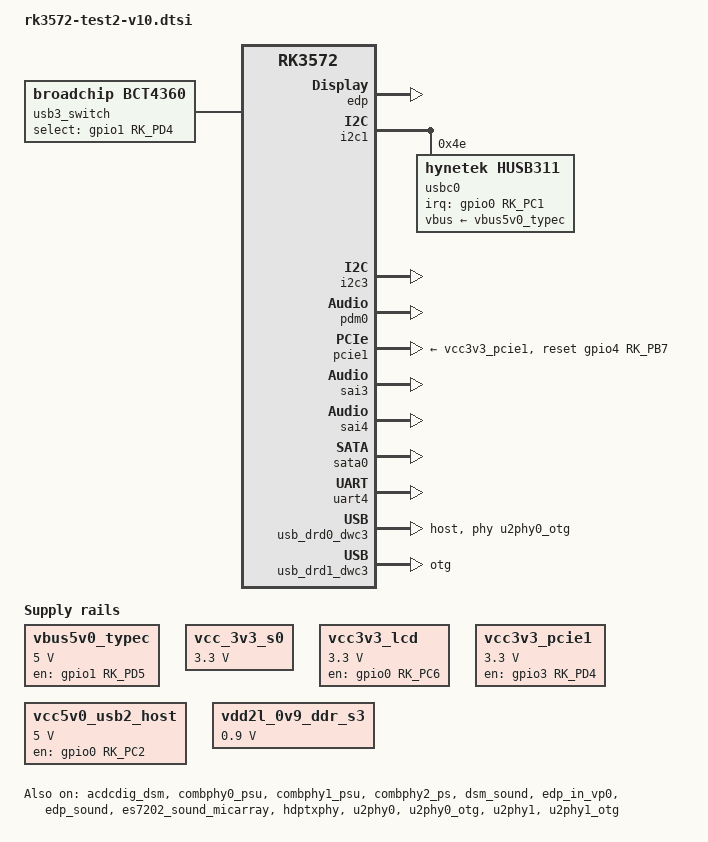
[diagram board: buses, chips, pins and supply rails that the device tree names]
// SPDX-License-Identifier: (GPL-2.0+ OR MIT)
/*
 * Copyright (c) 2025 Rockchip Electronics Co., Ltd.
 */

#include <dt-bindings/usb/pd.h>
#include "rk3572.dtsi"
#include "rk3572-evb.dtsi"
#include "rk3572-rk806.dtsi"

/ {
	usb3_switch: usb3-switch {
		compatible = "broadchip,bct4360", "gpio-sbu-mux";
		select-gpios = <&gpio1 RK_PD4 GPIO_ACTIVE_HIGH>;
		pinctrl-names = "default";
		pinctrl-0 = <&usb3_switch_default>;
		orientation-switch;
	};

	vbus5v0_typec: vbus5v0-typec {
		compatible = "regulator-fixed";
		regulator-name = "vbus5v0_typec";
		regulator-min-microvolt = <5000000>;
		regulator-max-microvolt = <5000000>;
		enable-active-high;
		gpio = <&gpio1 RK_PD5 GPIO_ACTIVE_HIGH>;
		pinctrl-names = "default";
		pinctrl-0 = <&usb_drd1_pwren>;
	};

	vcc_3v3_s0: vcc-3v3-s0 {
		compatible = "regulator-fixed";
		regulator-name = "vcc_3v3_s0";
		regulator-boot-on;
		regulator-always-on;
		regulator-min-microvolt = <3300000>;
		regulator-max-microvolt = <3300000>;
	};

	vcc3v3_lcd: vcc3v3-lcd {
		compatible = "regulator-fixed";
		regulator-name = "vcc3v3_lcd";
		regulator-boot-on;
		enable-active-high;
		regulator-min-microvolt = <3300000>;
		regulator-max-microvolt = <3300000>;
		gpio = <&gpio0 RK_PC6 GPIO_ACTIVE_HIGH>;
	};

	vcc3v3_pcie1: vcc3v3-pcie1 {
		compatible = "regulator-fixed";
		regulator-name = "vcc3v3_pcie0";
		enable-active-high;
		regulator-min-microvolt = <3300000>;
		regulator-max-microvolt = <3300000>;
		gpio = <&gpio3 RK_PD4 GPIO_ACTIVE_HIGH>;
	};

	vcc5v0_usb2_host: vcc5v0-usb2-host {
		compatible = "regulator-fixed";
		regulator-name = "vcc5v0_usb2_host";
		regulator-boot-on;
		regulator-always-on;
		regulator-min-microvolt = <5000000>;
		regulator-max-microvolt = <5000000>;
		enable-active-high;
		gpio = <&gpio0 RK_PC2 GPIO_ACTIVE_HIGH>;
		pinctrl-names = "default";
		pinctrl-0 = <&usb_drd0_pwren>;
	};

	vdd2l_0v9_ddr_s3: vdd2l-0v9-ddr-s3 {
		compatible = "regulator-fixed";
		regulator-name = "vdd2l_0v9_ddr_s3";
		regulator-boot-on;
		regulator-always-on;
		regulator-min-microvolt = <900000>;
		regulator-max-microvolt = <900000>;
	};
};

&acdcdig_dsm {
	status = "okay";
};

&combphy0_psu {
	rockchip,dis-u3otg0-port;
	status = "okay";
};

&combphy1_psu {
	status = "okay";
};

&combphy2_ps {
	status = "okay";
};

&dsm_sound {
	status = "okay";
};

&edp {
	status = "okay";
	pinctrl-names = "default";
	pinctrl-0 = <&edp_txm1_pins>;
};

&edp_in_vp0 {
	status = "okay";
};

&edp_sound {
	status = "okay";
};

&es7202_sound_micarray {
	status = "okay";
};

&hdptxphy {
	status = "okay";
};

&i2c1 {
	status = "okay";
	pinctrl-names = "default";
	pinctrl-0 = <&i2c1m1_xfer_pins>;

	usbc0: husb311@4e {
		compatible = "hynetek,husb311";
		reg = <0x4e>;
		interrupt-parent = <&gpio0>;
		interrupts = <RK_PC1 IRQ_TYPE_LEVEL_LOW>;
		pinctrl-names = "default";
		pinctrl-0 = <&usbc0_int>;
		vbus-supply = <&vbus5v0_typec>;
		status = "okay";

		usb_con0: connector {
			compatible = "usb-c-connector";
			label = "USB-C";
			data-role = "dual";
			power-role = "dual";
			try-power-role = "sink";
			op-sink-microwatt = <1000000>;
			orientation-switch = <&usb3_switch &u2phy1>;
			usb-role-switch = <&usb_drd1_dwc3>;

			sink-pdos = <PDO_FIXED(5000, 1000, PDO_FIXED_DATA_SWAP | PDO_FIXED_USB_COMM | PDO_FIXED_EXTPOWER | PDO_FIXED_DUAL_ROLE)>;
			source-pdos = <PDO_FIXED(5000, 3000, PDO_FIXED_DATA_SWAP | PDO_FIXED_USB_COMM | PDO_FIXED_EXTPOWER | PDO_FIXED_DUAL_ROLE)>;
		};
	};
};

&i2c3 {
	status = "okay";
};

&pdm0 {
	pinctrl-0 = <&pdmm1_sdi2_pins>;
	pinctrl-1 = <&pdmm1_clk1_idle>;
	pinctrl-2 = <&pdmm1_clk1_pins>;
	rockchip,path-map = <2 0 1 3>;
	status = "okay";
};

&pcie1 {
	reset-gpios = <&gpio4 RK_PB7 GPIO_ACTIVE_HIGH>;
	vpcie3v3-supply = <&vcc3v3_pcie1>;
	status = "okay";
};

&pinctrl {
	usb {
		usb3_switch_default: usb3-switch-default {
			rockchip,pins = <1 RK_PD4 RK_FUNC_GPIO &pcfg_pull_none>;
		};

		usb_drd0_pwren: usb-drd0-pwren {
			rockchip,pins = <0 RK_PC2 RK_FUNC_GPIO &pcfg_pull_none>;
		};

		usb_drd1_pwren: usb-drd1-pwren {
			rockchip,pins = <1 RK_PD5 RK_FUNC_GPIO &pcfg_pull_none>;
		};

		usbc0_int: usbc0-int {
			rockchip,pins = <0 RK_PC1 RK_FUNC_GPIO &pcfg_pull_up>;
		};
	};
};

&sai3 {
	status = "okay";
	/delete-property/ pinctrl-names;
	/delete-property/ pinctrl-0;
};

&sai4 {
	status = "okay";
};

&sata0 {
	status = "okay";
};

&sdmmc0 {
	pinctrl-names = "default";
	pinctrl-0 = <&sdmmc0m1_bus4_pins &sdmmc0m1_clk_pins &sdmmc0m1_cmd_pins &sdmmc0m1_det_pins>;
	/*
	 * If using sdmmc0, please solder on R1916, R1917, R1920, R1922,
	 * R1925, R1927 and R1950. Then disconnect registers from R1900 to R1903
	 */
	status = "disabled";
};

&uart4 {
	status = "okay";
};

&u2phy0 {
	status = "okay";
};

&u2phy0_otg {
	phy-supply = <&vcc5v0_usb2_host>;
	status = "okay";
};

&u2phy1 {
	orientation-switch;
	status = "okay";
};

&u2phy1_otg {
	rockchip,typec-vbus-det;
	status = "okay";
};

&usb_drd0_dwc3 {
	dr_mode = "host";
	maximum-speed = "high-speed";
	phys = <&u2phy0_otg>;
	phy-names = "usb2-phy";
	snps,dis_u2_susphy_quirk;
	snps,usb2-lpm-disable;
	status = "okay";
};

&usb_drd1_dwc3 {
	dr_mode = "otg";
	usb-role-switch;
	status = "okay";
};
